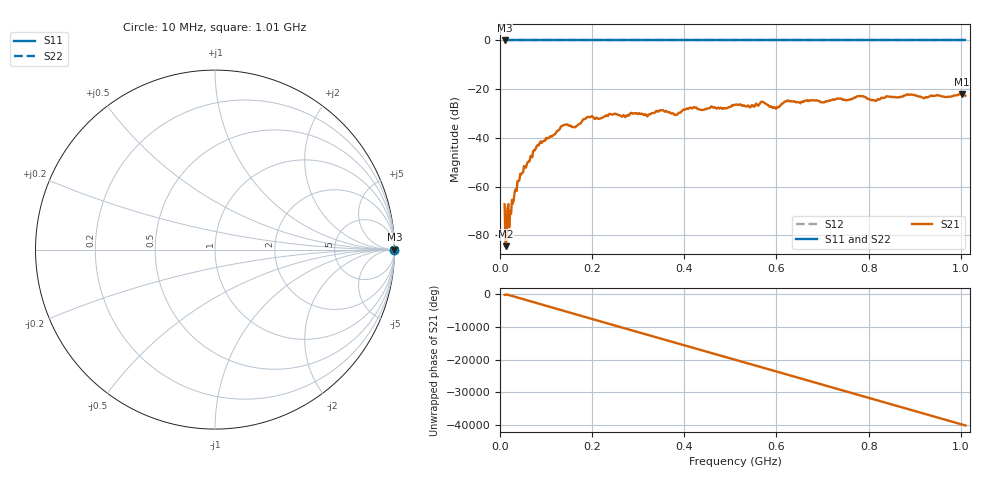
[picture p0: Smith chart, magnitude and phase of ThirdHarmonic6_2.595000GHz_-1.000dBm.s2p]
! 8/17/2025 5:35:06 AM
! C:\ANRITSUVNA\TEMP\TEMP.S2P
! CHANNEL.1
! TR.MEASUREMENT
! RAW.DATA
! RF.CORRECTION.OFF
! AVERAGING.OFF
! IF.BANDWIDTH: 5KHZ
! SWEEPTYPE:  FREQ.SWEEP(Linear)
! Reference Plane Port Info
! PORT:  PORT1  PORT2
! DISTANCE:  0  m  0  m
! TIME:  0  s  0  s
! PHASE.OFFSET:  0  deg.  0  deg.
! LOSS:  0  dB  0  dB
! REF.LOSS:  0  dB  0  dB
! REF.FREQ:  0  Hz  0  Hz
! Power Info
! POWER:  -20  dBm  -20  dBm
! EFF.POWER:  -20  dBm  -20  dBm
! SOURCE.ATTEN:  0  dB  0  dB
! TEST.ATTEN:  0  dB  0  dB
# GHZ S RI R 50.0
! FREQ.GHZ  S11RE  S11IM  S21RE  S21IM  S12RE  S12IM  S22RE  S22IM
!; PortSelection: Port_12
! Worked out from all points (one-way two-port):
!   501 points, 10 MHz to 1.01 GHz, reference 50 ohm
!   highest |S21| = -21.94 dB at 1.002 GHz (marker M1); lowest = -84.5 dB at 12 MHz (marker M2)
!   lowest |S11| = 0.0 dB at 10 MHz (marker M3)
!   |S11| at or under -10 dB: nowhere
!   |S22| runs from 0.0 to 0.0 dB; largest |S21 - S12| = 1.1
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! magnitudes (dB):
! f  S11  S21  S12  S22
! 10 MHz  0.0  -67.3  0.0  0.0
! 12 MHz  0.0  -84.5  0.0  0.0
! 16 MHz  0.0  -69.5  0.0  0.0
! 36 MHz  0.0  -61.8  0.0  0.0
! 48 MHz  0.0  -54.4  0.0  0.0
! 84 MHz  0.0  -43.1  0.0  0.0
! 136 MHz  0.0  -35.0  0.0  0.0
! 160 MHz  0.0  -35.6  0.0  0.0
! 178 MHz  0.0  -33.2  0.0  0.0
! 196 MHz  0.0  -31.5  0.0  0.0
! 322 MHz  0.0  -30.5  0.0  0.0
! 344 MHz  0.0  -29.2  0.0  0.0
! 382 MHz  0.0  -30.6  0.0  0.0
! 410 MHz  0.0  -27.9  0.0  0.0
! 510 MHz  0.0  -26.4  0.0  0.0
! 570 MHz  0.0  -25.2  0.0  0.0
! 596 MHz  0.0  -27.4  0.0  0.0
! 622 MHz  0.0  -24.9  0.0  0.0
! 678 MHz  0.0  -24.6  0.0  0.0
! 844 MHz  0.0  -23.1  0.0  0.0
! 1.002 GHz  0.0  -21.9  0.0  0.0
! 1.01 GHz  0.0  -22.7  0.0  0.0
